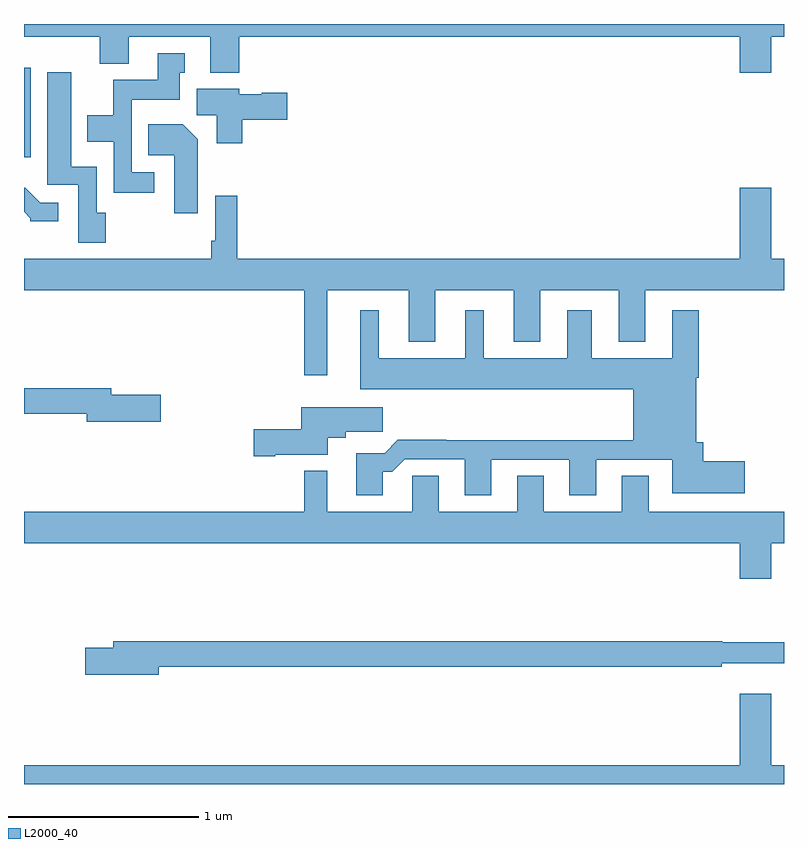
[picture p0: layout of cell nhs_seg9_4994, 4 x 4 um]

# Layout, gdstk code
import gdstk
lib = gdstk.Library(unit=1e-6, precision=1e-09)
def R(c, l, rs):  # rectangles x0, y0, x1, y1
    for r in rs: c.add(gdstk.rectangle(r[:2], r[2:], *l))
def P(c, l, *ps):  # polygons
    for p in ps: c.add(gdstk.Polygon(p, *l))
L2000_40 = (2000, 40)

nhs_seg9_4994 = lib.new_cell('nhs_seg9_4994')
R(nhs_seg9_4994, L2000_40, [(401,1183.8,401.035,1184.269)])
P(nhs_seg9_4994, L2000_40, [(404.768,1184.244),(404.932,1184.244),(404.932,1184.432),(405,1184.432),(405,1184.5),(401,1184.5),(401,1184.432),(401.399,1184.432),(401.399,1184.291),(401.551,1184.291),(401.551,1184.432),(401.981,1184.432),(401.981,1184.243),(402.134,1184.243),(402.134,1184.432),(404.768,1184.432)],
  [(401.686,1183.719),(401.568,1183.719),(401.568,1184.102),(401.821,1184.102),(401.821,1184.244),(401.845,1184.244),(401.845,1184.347),(401.705,1184.347),(401.705,1184.206),(401.47,1184.206),(401.47,1184.02),(401.333,1184.02),(401.333,1183.88),(401.472,1183.88),(401.472,1183.611),(401.686,1183.611)],
  [(401.43,1183.506),(401.382,1183.506),(401.382,1183.75),(401.248,1183.75),(401.248,1184.245),(401.123,1184.245),(401.123,1183.653),(401.286,1183.653),(401.286,1183.35),(401.43,1183.35)],
  [(402.149,1183.997),(402.385,1183.997),(402.385,1184.139),(402.252,1184.139),(402.252,1184.131),(402.132,1184.131),(402.132,1184.158),(401.909,1184.158),(401.909,1184.02),(402.014,1184.02),(402.014,1183.872),(402.149,1183.872)],
  [(401.914,1183.894),(401.836,1183.972),(401.653,1183.972),(401.653,1183.808),(401.792,1183.808),(401.792,1183.503),(401.914,1183.503)],
  [(402.595,1183.1),(403.025,1183.1),(403.025,1182.827),(403.165,1182.827),(403.165,1183.1),(403.577,1183.1),(403.577,1182.827),(403.717,1182.827),(403.717,1183.1),(404.129,1183.1),(404.129,1182.827),(404.269,1182.827),(404.269,1183.1),(405,1183.1),(405,1183.264),(404.932,1183.264),(404.932,1183.639),(404.768,1183.639),(404.768,1183.264),(402.122,1183.264),(402.122,1183.597),(402.006,1183.597),(402.006,1183.36),(401.986,1183.36),(401.986,1183.264),(401,1183.264),(401,1183.1),(402.474,1183.1),(402.474,1182.651),(402.595,1182.651)],
  [(401.179,1183.56),(401.085,1183.56),(401.007,1183.639),(401,1183.639),(401,1183.512),(401.034,1183.478),(401.034,1183.463),(401.179,1183.463)],
  [(402.889,1182.143),(402.938,1182.143),(403.005,1182.21),(403.319,1182.21),(403.319,1182.021),(403.459,1182.021),(403.459,1182.207),(403.871,1182.207),(403.871,1182.021),(404.011,1182.021),(404.011,1182.207),(404.411,1182.207),(404.411,1182.029),(404.794,1182.029),(404.794,1182.2),(404.576,1182.2),(404.576,1182.3),(404.539,1182.3),(404.539,1182.638),(404.552,1182.638),(404.552,1182.994),(404.411,1182.994),(404.411,1182.742),(403.987,1182.742),(403.987,1182.994),(403.859,1182.994),(403.859,1182.742),(403.42,1182.742),(403.42,1182.994),(403.322,1182.994),(403.322,1182.742),(402.868,1182.742),(402.868,1182.994),(402.77,1182.994),(402.77,1182.578),(404.207,1182.578),(404.207,1182.308),(403.223,1182.308),(403.223,1182.311),(402.968,1182.311),(402.898,1182.241),(402.749,1182.241),(402.749,1182.021),(402.889,1182.021)],
  [(401.719,1182.548),(401.458,1182.548),(401.458,1182.584),(401,1182.584),(401,1182.448),(401.33,1182.448),(401.33,1182.406),(401.719,1182.406)],
  [(402.322,1182.233),(402.598,1182.233),(402.598,1182.323),(402.694,1182.323),(402.694,1182.355),(402.889,1182.355),(402.889,1182.484),(402.458,1182.484),(402.458,1182.368),(402.21,1182.368),(402.21,1182.226),(402.322,1182.226)],
  [(404.932,1181.768),(405,1181.768),(405,1181.932),(404.287,1181.932),(404.287,1182.122),(404.147,1182.122),(404.147,1181.932),(403.735,1181.932),(403.735,1182.122),(403.595,1182.122),(403.595,1181.932),(403.183,1181.932),(403.183,1182.122),(403.044,1182.122),(403.044,1181.932),(402.595,1181.932),(402.595,1182.148),(402.474,1182.148),(402.474,1181.932),(401,1181.932),(401,1181.768),(404.768,1181.768),(404.768,1181.58),(404.932,1181.58)],
  [(401.71,1181.116),(404.672,1181.116),(404.672,1181.135),(405,1181.135),(405,1181.245),(404.675,1181.245),(404.675,1181.252),(401.471,1181.252),(401.471,1181.216),(401.322,1181.216),(401.322,1181.074),(401.71,1181.074)],
  [(405,1180.6),(404.932,1180.6),(404.932,1180.975),(404.768,1180.975),(404.768,1180.6),(401,1180.6),(401,1180.5),(405,1180.5)])

lib.write_gds('nhs_seg9_4994.gds')
